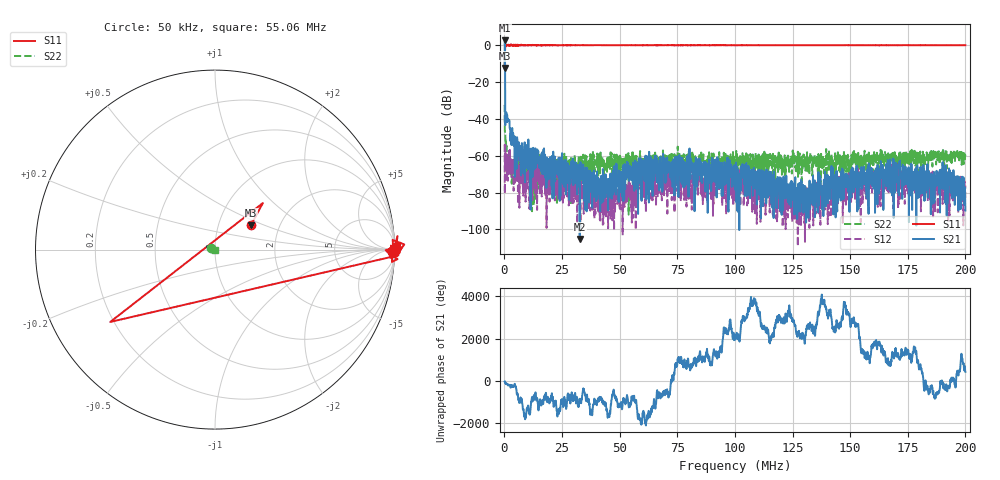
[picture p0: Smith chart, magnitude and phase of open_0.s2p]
! 26-Feb-26 2:11:06 PM
! E:\VNA_MEASUREMENTS\CAL_ENDS\OPEN_0.S2P
! CHANNEL.1
! TR.MEASUREMENT
! CORRECTED.DATA
# GHZ S RI R 50.0
! FREQ.GHZ  S11RE  S11IM  S21RE  S21IM  S12RE  S12IM  S22RE  S22IM
!; PortSelection: Port_12
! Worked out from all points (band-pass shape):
!   2000 points, 50 kHz to 200 MHz, reference 50 ohm
!   highest |S21| = 2.58 dB at 150 kHz (marker M1); lowest = -105.2 dB at 32.66 MHz (marker M2)
!   |S21| within 3 dB of the highest: 130.7 kHz to 173.9 kHz (43.16 kHz wide, 28.3 % of centre)
!   lowest |S11| = -12.3 dB at 50 kHz (marker M3), VSWR 1.64, Z = 71.5 + j20.6 ohm
!   |S11| at or under -10 dB: start of sweep to 112.5 kHz
!   |S22| runs from -91.9 to -32.4 dB; largest |S21 - S12| = 1.3
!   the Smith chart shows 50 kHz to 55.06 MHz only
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5e-05  0.1997 0.1355  0.1983 -0.1061  -0.00192 0.00059  -0.0222 0.00896
0.000150025  0.2666 0.2594  0.8287 -1.06  0 9.35e-05  0.00177 -0.00463
0.001350325  0.9757 -0.0298  -0.00915 -0.00106  -9.95e-05 0.000199  0.000263 -0.000197
0.002350575  0.9944 -0.042  -0.00547 0.000482  0.00124 0.000737  0.000468 -0.00026
0.004351076  0.9832 0.0081  -0.00147 0.0026  -0.000569 -9.6e-05  0.000372 0.000261
0.008052001  1.014 -0.00286  -0.000607 0.00088  0.000125 -0.000202  0.000879 0.00042
0.0236559  0.9992 -0.0132  -8.11e-05 -0.000248  0.000167 -8.27e-05  0.000197 0.000342
0.03265815  1.002 -0.00763  -2.5e-06 -4.9e-06  6.06e-05 3.35e-05  0.000186 0.00073
0.03345835  0.9991 -0.00809  -0.000186 -0.000545  6.64e-05 6.76e-05  0.000856 0.000369
0.0416604  0.9982 -0.0204  0.000101 -0.000119  8.29e-05 1.25e-05  0.0012 0.000255
0.05026256  0.9992 -0.015  0.000263 6.13e-05  -1.4e-05 -3.23e-05  0.000264 0.000191
0.05386346  1.001 -0.0232  7.64e-05 -0.000269  0.000107 0.000146  2.32e-05 -1.02e-05
0.06676668  1.006 -0.0265  0.000205 0.000393  0.00015 -4.72e-05  0.00064 0.000325
0.07896973  1.005 -0.0283  -0.000225 -0.000118  -4.08e-05 8.7e-06  0.000572 0.000432
0.08397098  0.9912 -0.0355  6.63e-05 -0.000214  -7.68e-05 -4.24e-05  0.000583 0.000596
0.08617154  0.9961 -0.0339  0.000492 -0.000138  -6.54e-05 0.000194  0.000415 0.000611
0.100075  1.002 -0.0416  0.000112 -4.52e-05  0.000107 0.000175  0.00034 0.000705
0.1333833  1 -0.0493  -4.12e-05 -5.09e-05  1.99e-05 5.47e-05  0.000464 0.000305
0.1666917  1.001 -0.0636  0.000647 0.000239  0.000102 1.9e-06  0.000891 0.000664
0.1856964  0.9993 -0.0733  2.63e-05 4.22e-05  -6.34e-05 -3.72e-05  0.000311 0.000402
0.1897974  0.9992 -0.0677  0.000171 0.000111  0.000233 -5.74e-05  0.000856 0.000548
0.2  0.9985 -0.0761  8.5e-06 3.15e-05  -8.69e-05 -0.000127  0.000462 0.000881
